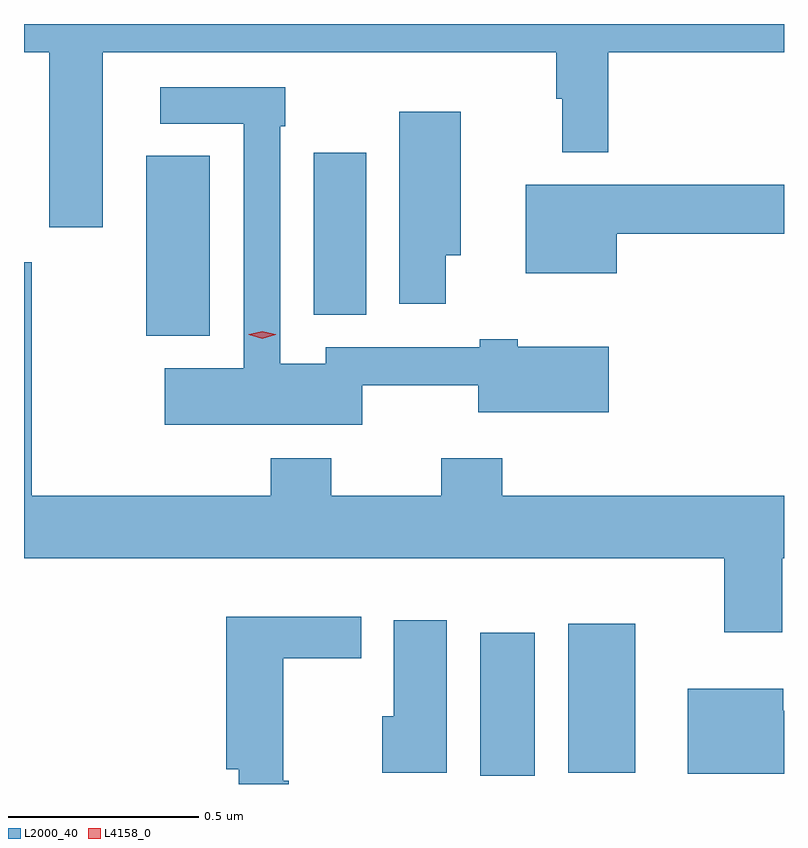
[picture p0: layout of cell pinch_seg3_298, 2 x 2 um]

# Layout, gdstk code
import gdstk
lib = gdstk.Library(unit=1e-6, precision=1e-09)
def R(c, l, rs):  # rectangles x0, y0, x1, y1
    for r in rs: c.add(gdstk.rectangle(r[:2], r[2:], *l))
def P(c, l, *ps):  # polygons
    for p in ps: c.add(gdstk.Polygon(p, *l))
L2000_40 = (2000, 40)
L4158_0 = (4158, 0)

pinch_seg3_298 = lib.new_cell('pinch_seg3_298')
R(pinch_seg3_298, L2000_40, [(983.645,725.652,983.788,726.028), (983.876,725.66,984.052,726.052), (982.766,726.809,982.933,727.283), (983.207,726.865,983.344,727.291)])
P(pinch_seg3_298, L2000_40, [(982.651,727.556),(983.845,727.556),(983.845,727.433),(983.86,727.433),(983.86,727.293),(983.981,727.293),(983.981,727.556),(984.444,727.556),(984.444,727.63),(982.444,727.63),(982.444,727.556),(982.511,727.556),(982.511,727.095),(982.651,727.095)],
  [(983.334,726.679),(983.639,726.679),(983.639,726.608),(983.983,726.608),(983.983,726.781),(983.743,726.781),(983.743,726.8),(983.643,726.8),(983.643,726.78),(983.238,726.78),(983.238,726.736),(983.118,726.736),(983.118,727.361),(983.131,727.361),(983.131,727.464),(982.803,727.464),(982.803,727.368),(983.022,727.368),(983.022,726.724),(982.815,726.724),(982.815,726.575),(983.334,726.575)],
  [(983.554,727.022),(983.593,727.022),(983.593,727.399),(983.432,727.399),(983.432,726.894),(983.554,726.894)],
  [(984.004,727.078),(984.444,727.078),(984.444,727.207),(983.765,727.207),(983.765,726.974),(984.004,726.974)],
  [(984.44,726.224),(984.444,726.224),(984.444,726.388),(983.702,726.388),(983.702,726.487),(983.542,726.487),(983.542,726.388),(983.253,726.388),(983.253,726.487),(983.093,726.487),(983.093,726.388),(982.465,726.388),(982.465,727.003),(982.444,727.003),(982.444,726.224),(984.287,726.224),(984.287,726.03),(984.44,726.03)],
  [(983.141,725.638),(983.126,725.638),(983.126,725.961),(983.332,725.961),(983.332,726.07),(982.976,726.07),(982.976,725.669),(983.009,725.669),(983.009,725.63),(983.141,725.63)],
  [(983.557,726.061),(983.417,726.061),(983.417,725.808),(983.387,725.808),(983.387,725.66),(983.557,725.66)],
  [(984.444,725.823),(984.442,725.823),(984.442,725.881),(984.191,725.881),(984.191,725.657),(984.444,725.657)])
P(pinch_seg3_298, L4158_0, [(983.071,726.802),(983.036,726.812),(983.036,726.812),(983.036,726.813),(983.071,726.822),(983.106,726.813),(983.106,726.812),(983.106,726.812)])

lib.write_gds('pinch_seg3_298.gds')
